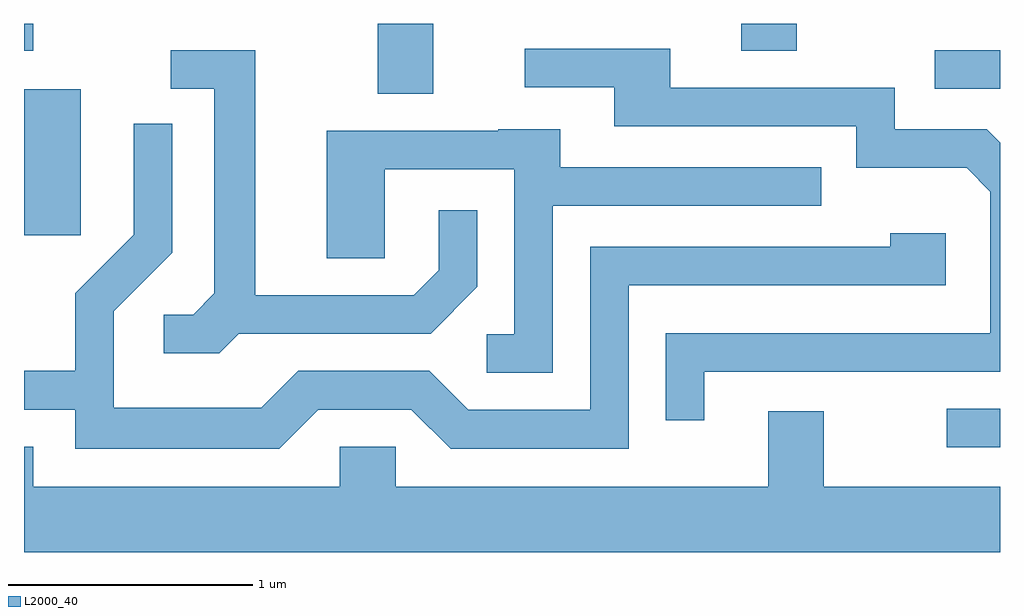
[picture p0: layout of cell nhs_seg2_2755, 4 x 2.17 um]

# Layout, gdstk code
import gdstk
lib = gdstk.Library(unit=1e-6, precision=1e-09)
def R(c, l, rs):  # rectangles x0, y0, x1, y1
    for r in rs: c.add(gdstk.rectangle(r[:2], r[2:], *l))
def P(c, l, *ps):  # polygons
    for p in ps: c.add(gdstk.Polygon(p, *l))
L2000_40 = (2000, 40)

nhs_seg2_2755 = lib.new_cell('nhs_seg2_2755')
R(nhs_seg2_2755, L2000_40, [(269.393,1062.066,269.611,1062.224), (265.611,1062.936,265.844,1063.534), (267.061,1063.516,267.289,1063.802), (269.343,1063.536,269.611,1063.694), (265.611,1063.691,265.649,1063.802), (268.551,1063.691,268.779,1063.802)])
P(nhs_seg2_2755, L2000_40, [(268.399,1062.376),(269.611,1062.376),(269.611,1063.315),(269.557,1063.369),(269.179,1063.369),(269.179,1063.539),(268.259,1063.539),(268.259,1063.699),(267.663,1063.699),(267.663,1063.541),(268.031,1063.541),(268.031,1063.381),(269.021,1063.381),(269.021,1063.211),(269.474,1063.211),(269.571,1063.114),(269.571,1062.534),(268.241,1062.534),(268.241,1062.178),(268.399,1062.178)],
  [(266.492,1062.531),(267.277,1062.531),(267.469,1062.724),(267.469,1063.038),(267.311,1063.038),(267.311,1062.792),(267.209,1062.689),(266.559,1062.689),(266.559,1063.694),(266.213,1063.694),(266.213,1063.536),(266.391,1063.536),(266.391,1062.697),(266.304,1062.609),(266.183,1062.609),(266.183,1062.451),(266.412,1062.451)],
  [(266.817,1062.221),(267.199,1062.221),(267.359,1062.061),(268.089,1062.061),(268.089,1062.731),(269.389,1062.731),(269.389,1062.944),(269.161,1062.944),(269.161,1062.889),(267.931,1062.889),(267.931,1062.219),(267.432,1062.219),(267.272,1062.379),(266.734,1062.379),(266.584,1062.229),(265.979,1062.229),(265.979,1062.624),(266.219,1062.864),(266.219,1063.393),(266.061,1063.393),(266.061,1062.937),(265.821,1062.697),(265.821,1062.379),(265.611,1062.379),(265.611,1062.221),(265.821,1062.221),(265.821,1062.061),(266.657,1062.061)],
  [(267.779,1063.056),(268.878,1063.056),(268.878,1063.214),(267.809,1063.214),(267.809,1063.369),(267.555,1063.369),(267.555,1063.364),(266.851,1063.364),(266.851,1062.841),(267.089,1062.841),(267.089,1063.206),(267.621,1063.206),(267.621,1062.529),(267.508,1062.529),(267.508,1062.371),(267.779,1062.371)],
  [(269.611,1061.904),(268.889,1061.904),(268.889,1062.214),(268.661,1062.214),(268.661,1061.904),(267.134,1061.904),(267.134,1062.069),(266.906,1062.069),(266.906,1061.904),(265.649,1061.904),(265.649,1062.069),(265.611,1062.069),(265.611,1061.636),(269.611,1061.636)])

lib.write_gds('nhs_seg2_2755.gds')
